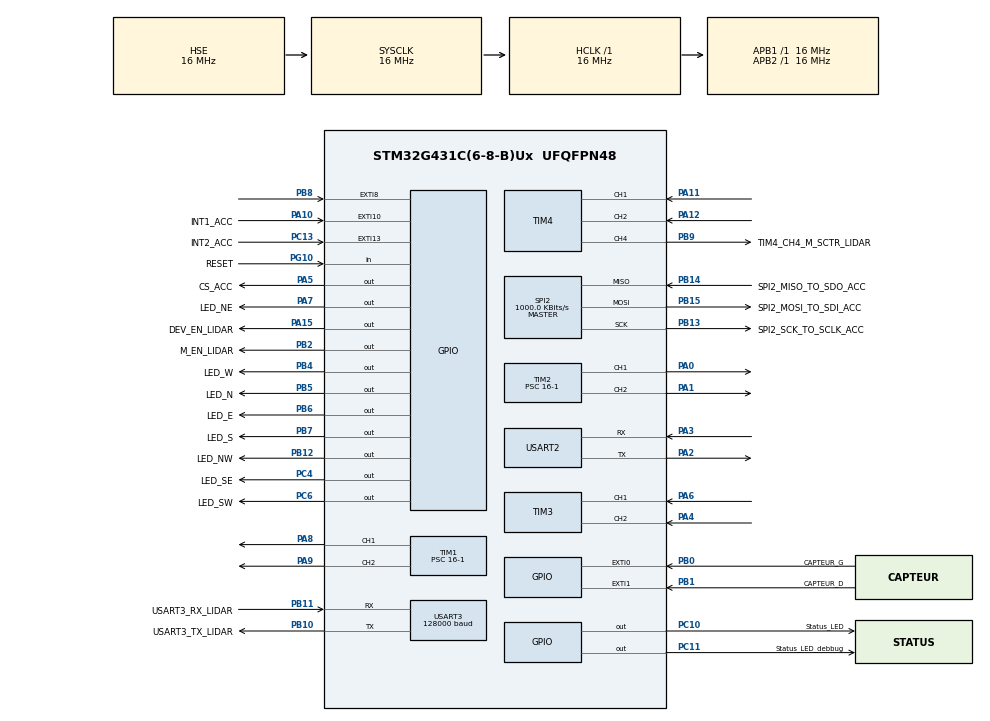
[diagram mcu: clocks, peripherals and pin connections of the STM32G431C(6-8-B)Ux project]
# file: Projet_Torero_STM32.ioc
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Dma.Request0=USART3_RX
Dma.USART3_RX.0.Direction=DMA_PERIPH_TO_MEMORY
Dma.USART3_RX.0.EventEnable=DISABLE
Dma.USART3_RX.0.Instance=DMA1_Channel1
Dma.USART3_RX.0.MemDataAlignment=DMA_MDATAALIGN_BYTE
Dma.USART3_RX.0.MemInc=DMA_MINC_ENABLE
Dma.USART3_RX.0.Mode=DMA_CIRCULAR
Dma.USART3_RX.0.PeriphDataAlignment=DMA_PDATAALIGN_BYTE
Dma.USART3_RX.0.PeriphInc=DMA_PINC_DISABLE
Dma.USART3_RX.0.Polarity=HAL_DMAMUX_REQ_GEN_RISING
Dma.USART3_RX.0.Priority=DMA_PRIORITY_LOW
Dma.USART3_RX.0.RequestNumber=1
Dma.USART3_RX.0.SignalID=NONE
Dma.USART3_RX.0.SyncEnable=DISABLE
Dma.USART3_RX.0.SyncPolarity=HAL_DMAMUX_SYNC_NO_EVENT
Dma.USART3_RX.0.SyncRequestNumber=1
Dma.USART3_RX.0.SyncSignalID=NONE
FREERTOS.Tasks01=defaultTask,0,128,StartDefaultTask,Default,NULL,Dynamic,NULL,NULL
FREERTOS.configTOTAL_HEAP_SIZE=10000
Mcu.Family=STM32G4
Mcu.Name=STM32G431C(6-8-B)Ux
Mcu.Package=UFQFPN48
NVIC.DMA1_Channel1_IRQn=true\:5\:0\:false\:false\:true\:true\:false\:true\:true
NVIC.EXTI0_IRQn=true\:5\:0\:false\:false\:true\:true\:true\:true\:true
NVIC.EXTI15_10_IRQn=true\:5\:0\:true\:false\:true\:true\:true\:true\:true
NVIC.EXTI1_IRQn=true\:5\:0\:false\:false\:true\:true\:true\:true\:true
NVIC.PriorityGroup=NVIC_PRIORITYGROUP_4
NVIC.TIM1_UP_TIM16_IRQn=true\:5\:0\:false\:false\:true\:true\:true\:true\:true
PA0.Signal=S_TIM2_CH1
PA1.Signal=S_TIM2_CH2
PA10.GPIO_Label=INT1_ACC
PA10.GPIO_PuPd=GPIO_NOPULL
PA10.Signal=GPXTI10
PA11.Signal=S_TIM4_CH1
PA12.Signal=S_TIM4_CH2
PA13.Mode=Trace_Asynchronous_SW
PA13.Signal=SYS_JTMS-SWDIO
PA14.Mode=Trace_Asynchronous_SW
PA14.Signal=SYS_JTCK-SWCLK
PA15.GPIO_Label=DEV_EN_LIDAR
PA15.PinState=GPIO_PIN_SET
PA15.Signal=GPIO_Output
PA2.Mode=Asynchronous
PA2.Signal=USART2_TX
PA3.Mode=Asynchronous
PA3.Signal=USART2_RX
PA4.Signal=S_TIM3_CH2
PA5.GPIO_Label=CS_ACC
PA5.PinState=GPIO_PIN_SET
PA5.Signal=GPIO_Output
PA6.Signal=S_TIM3_CH1
PA7.GPIO_Label=LED_NE
PA7.Signal=GPIO_Output
PA8.Signal=S_TIM1_CH1
PA9.Signal=S_TIM1_CH2
PB0.GPIO_Label=CAPTEUR_G
PB0.GPIO_ModeDefaultEXTI=GPIO_MODE_IT_RISING_FALLING
PB0.Signal=GPXTI0
PB1.GPIO_Label=CAPTEUR_D
PB1.GPIO_ModeDefaultEXTI=GPIO_MODE_IT_RISING_FALLING
PB1.Signal=GPXTI1
PB10.GPIO_Label=USART3_TX_LIDAR
PB10.Mode=Asynchronous
PB10.Signal=USART3_TX
PB11.GPIO_Label=USART3_RX_LIDAR
PB11.Mode=Asynchronous
PB11.Signal=USART3_RX
PB12.GPIO_Label=LED_NW
PB12.Signal=GPIO_Output
PB13.GPIO_Label=SPI2_SCK_TO_SCLK_ACC
PB13.Mode=Full_Duplex_Master
PB13.Signal=SPI2_SCK
PB14.GPIO_Label=SPI2_MISO_TO_SDO_ACC
PB14.Mode=Full_Duplex_Master
PB14.Signal=SPI2_MISO
PB15.GPIO_Label=SPI2_MOSI_TO_SDI_ACC
PB15.Mode=Full_Duplex_Master
PB15.Signal=SPI2_MOSI
PB2.GPIO_Label=M_EN_LIDAR
PB2.PinState=GPIO_PIN_SET
PB2.Signal=GPIO_Output
PB3.Mode=Trace_Asynchronous_SW
PB3.Signal=SYS_JTDO-SWO
PB4.GPIO_Label=LED_W
PB4.Signal=GPIO_Output
PB5.GPIO_Label=LED_N
PB5.Signal=GPIO_Output
PB6.GPIO_Label=LED_E
PB6.Signal=GPIO_Output
PB7.GPIO_Label=LED_S
PB7.Signal=GPIO_Output
PB8-BOOT0.Signal=GPXTI8
PB9.GPIO_Label=TIM4_CH4_M_SCTR_LIDAR
PB9.Signal=S_TIM4_CH4
PC10.GPIO_Label=Status_LED
PC10.Signal=GPIO_Output
PC11.GPIO_Label=Status_LED_debbug
PC11.Signal=GPIO_Output
PC13.GPIO_Label=INT2_ACC
PC13.GPIO_PuPd=GPIO_NOPULL
PC13.Signal=GPXTI13
PC4.GPIO_Label=LED_SE
PC4.Signal=GPIO_Output
PC6.GPIO_Label=LED_SW
PC6.Signal=GPIO_Output
PF0-OSC_IN.Mode=HSE-External-Oscillator
PF0-OSC_IN.Signal=RCC_OSC_IN
PF1-OSC_OUT.Mode=HSE-External-Oscillator
PF1-OSC_OUT.Signal=RCC_OSC_OUT
PG10-NRST.GPIO_Label=RESET
PG10-NRST.Signal=GPIO_Input
ProjectManager.HeapSize=0x200
ProjectManager.StackSize=0x400
ProjectManager.TargetToolchain=STM32CubeIDE
RCC.ADC12Freq_Value=16000000
RCC.AHBFreq_Value=16000000
RCC.APB1Freq_Value=16000000
RCC.APB1TimFreq_Value=16000000
RCC.APB2Freq_Value=16000000
RCC.APB2TimFreq_Value=16000000
RCC.CortexFreq_Value=16000000
RCC.EXTERNAL_CLOCK_VALUE=12288000
RCC.HCLKFreq_Value=16000000
RCC.HSE_VALUE=16000000
RCC.HSI48_VALUE=48000000
RCC.HSI_VALUE=16000000
RCC.LSE_VALUE=32768
RCC.RTCClockSelection=RCC_RTCCLKSOURCE_LSE
RCC.SYSCLKFreq_VALUE=16000000
RCC.SYSCLKSource=RCC_SYSCLKSOURCE_HSE
RCC.USBFreq_Value=64000000
RCC.VCOOutputFreq_Value=128000000
SH.S_TIM1_CH1.0=TIM1_CH1,PWM Generation1 CH1
SH.S_TIM1_CH2.0=TIM1_CH2,PWM Generation2 CH2
SH.S_TIM2_CH1.0=TIM2_CH1,PWM Generation1 CH1
SH.S_TIM2_CH2.0=TIM2_CH2,PWM Generation2 CH2
SH.S_TIM3_CH1.0=TIM3_CH1,Encoder_Interface
SH.S_TIM3_CH2.0=TIM3_CH2,Encoder_Interface
SH.S_TIM4_CH1.0=TIM4_CH1,Encoder_Interface
SH.S_TIM4_CH2.0=TIM4_CH2,Encoder_Interface
SH.S_TIM4_CH4.0=TIM4_CH4,PWM Generation4 CH4
SPI2.BaudRatePrescaler=SPI_BAUDRATEPRESCALER_16
SPI2.CLKPhase=SPI_PHASE_2EDGE
SPI2.CLKPolarity=SPI_POLARITY_HIGH
SPI2.CalculateBaudRate=1000.0 KBits/s
SPI2.DataSize=SPI_DATASIZE_8BIT
SPI2.Direction=SPI_DIRECTION_2LINES
SPI2.Mode=SPI_MODE_MASTER
SPI2.VirtualType=VM_MASTER
TIM1.Channel-PWM\ Generation1\ CH1=TIM_CHANNEL_1
TIM1.Channel-PWM\ Generation2\ CH2=TIM_CHANNEL_2
TIM1.PeriodNoDither=40-1
TIM1.Prescaler=16-1
TIM16.PeriodNoDither=1000-1
TIM16.Prescaler=16-1
TIM2.Channel-PWM\ Generation1\ CH1=TIM_CHANNEL_1
TIM2.Channel-PWM\ Generation2\ CH2=TIM_CHANNEL_2
TIM2.PeriodNoDither=40-1
TIM2.Prescaler=16-1
TIM4.Channel-PWM\ Generation4\ CH4=TIM_CHANNEL_4
USART2.VirtualMode-Asynchronous=VM_ASYNC
USART3.BaudRate=128000
USART3.VirtualMode-Asynchronous=VM_ASYNC
VP_FREERTOS_VS_CMSIS_V1.Mode=CMSIS_V1
VP_SYS_VS_DBSignals.Mode=DisableDeadBatterySignals
VP_TIM16_VS_ClockSourceINT.Mode=Enable_Timer
board=custom

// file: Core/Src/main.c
/* USER CODE BEGIN Header */
/**
 ******************************************************************************
 * @file           : main.c
 * @brief          : Main program body
 ******************************************************************************
 * @attention
 *
 * Copyright (c) 2024 STMicroelectronics.
 * All rights reserved.
 *
 * This software is licensed under terms that can be found in the LICENSE file
 * in the root directory of this software component.
 * If no LICENSE file comes with this software, it is provided AS-IS.
 *
 ******************************************************************************
 */
/* USER CODE END Header */
#include "main.h"
#include "cmsis_os.h"
#include "dma.h"
#include "spi.h"
#include "tim.h"
#include "usart.h"
#include "gpio.h"

/* USER CODE BEGIN Includes */
#include "lidarX4.h"
#include "stdio.h"
#include "ADXL.h"
#include "motor.h"
/* USER CODE END Includes */

/* USER CODE BEGIN PM */
extern TIM_HandleTypeDef htim16;

LIDAR_HandleTypeDef_t hlidar;

SemaphoreHandle_t SemHalfCallBack;
SemaphoreHandle_t SemClpCallBack;

TaskHandle_t xHandleLIDAR = NULL;
TaskHandle_t xHandleETAT = NULL;
TaskHandle_t xHandleMOTOR = NULL;
TaskHandle_t xHandleEDGE = NULL;

BaseType_t ret;
/* USER CODE END PM */

void SystemClock_Config(void);
void MX_FREERTOS_Init(void);
/* USER CODE BEGIN PFP */
void TaskMOTOR (void * pvParameters);
void TaskETAT(void * pvParameters);
void TaskEDGE(void * pvParameters);
void TaskLIDAR(void * pvParameters);
/* USER CODE END PFP */

/* USER CODE BEGIN 0 */

int motor_init = 0;

//flag capteurs bord
int capteur_G = 0;
int capteur_D = 0;

//Asservissement
int angle;		//Calcul de alpha
int vitesse;	//

//Etat Robot
int etat = 0;	//0 -> souris	1 -> chat

//Commande moteur
int alpha1 = MAX_SPEED_FORWARD; //moteur droit
int alpha2 = MAX_SPEED_FORWARD; //moteur gauche

//Flag pour bloquer l'actualisation de la vitesse des moteurs de TaskMOTOR
int EdgeProcess = 0;
int ShockProcess = 0;

//SemaphoreHandle_t xNoSignalSemaphore;
SemaphoreHandle_t SemDMAHalfCallBack;
SemaphoreHandle_t SemDMAClpCallBack;

//Lidar
int distance_min=0;
int idx_min = 0;
uint16_t frame_start = 0;
uint16_t frame_end = 0;
float coeff_Lidar, coeff_Capteur;
float delta;

//Accéléromètre
uint8_t rst_int;

int __io_putchar(int chr){
	HAL_UART_Transmit(&huart2, (uint8_t*)&chr, 1, HAL_MAX_DELAY);
	return chr;
}

void print_buffer(const char * Name, uint8_t *pData, uint16_t Size, int N_lines){
	printf("%s", Name);
	if(N_lines >= (int) Size){
		for(int i = 0; i<Size; i++){
			printf("%d : %d\r\n", i, pData[i]);
		}
	}
	else{
		for(int i = 0; i<N_lines; i++){
			printf("%d : %d\r\n", i, pData[i]);
		}
	}
}

void TaskETAT(void * pvParameters){
	for (;;) {
		// Attendre que la notification arrive
		ulTaskNotifyTake(pdTRUE, portMAX_DELAY);
		ShockProcess++;
		//lire INT_SOURCE met à 0 le bit d'interruption single tap
		//du registre pour générer une nouvelle interruption au prochain choc
		rst_int = SPI_Read(ADXL343_REG_INT_SOURCE);
		if(etat == 1){
			etat = 0;
			printf("Squik\r\n");
		}
		else{
			etat = 1;
			printf("Miaou\r\n");
		}
		alpha1 = MAX_SPEED_REVERSE;
		alpha2 = MAX_SPEED_REVERSE+40;
		vTaskDelay(pdMS_TO_TICKS(400));
		ShockProcess--;
	}
}

void TaskLIDAR(void * pvParameters){
	for(;;){
	}
}

void TaskMOTOR (void * pvParameters){
	for(;;){
		if((EdgeProcess||ShockProcess) == 0){
			alpha1 = MAX_SPEED_FORWARD;
			alpha2 = MAX_SPEED_FORWARD;
		}
	}
}

/*
//TaskMOTOR si le lidar fournissait bien l'angle de l'objet le plus proche et la distance
void TaskMOTOR (void * pvParameters){
	for(;;){
 		if((EdgeProcess||ShockProcess) == 0){
			if (Etat_Robot == 0){
				// Cas Robot loin
				if (distance>==TRIG_DIST) {
					alpha1 = MAX_SPEED_FORWARD;
					alpha2 = MAX_SPEED_FORWARD;
				}
				// Cas Robot proche
				if (distance<=TRIG_DIST) {
					if (ANGLE_R <=45 || ANGLE_R >=315) {
						if (ANGLE_R <=45) {
							alpha1 = MAX_SPEED_FORWARD;
							alpha2 = MAX_SPEED_FORWARD - ANGLE_R;
						}
						else{
							alpha1 = MAX_SPEED_FORWARD -(ANGLE_MAX-ANGLE_R);
							alpha2 = MAX_SPEED_FORWARD;
						}
					}
					else if (ANGLE_R <=90 || ANGLE_R >=270) {
						if (ANGLE_R <=90) {
							alpha1 = MAX_SPEED_FORWARD;
							alpha2 = MAX_SPEED_FORWARD;
						}
						else{
							alpha1 = MAX_SPEED_FORWARD;
							alpha2 = MAX_SPEED_FORWARD;
						}

					}
					else if (ANGLE_R <=180 || ANGLE_R >=180) {
						if (ANGLE_R <=180) {
							alpha1 = MAX_SPEED_FORWARD;
							alpha2 = MAX_SPEED_FORWARD - 10;
						}
						else{
							alpha1 = MAX_SPEED_FORWARD - 10;
							alpha2 = MAX_SPEED_FORWARD;
						}
					}
				}
			}
			if(Etat_Robot == 1){
							// Cas Robot loin
				if (distance>=TRIG_DIST) {
					if (ANGLE_R <=45 || ANGLE_R >=315) {
						if (ANGLE_R <=45) {
							alpha1 = MAX_SPEED_FORWARD - 5;
							alpha2 = MAX_SPEED_FORWARD;
						}
						else{
							alpha1 = MAX_SPEED_FORWARD;
							alpha2 = MAX_SPEED_FORWARD - 5;
						}
					}
					else if (ANGLE_R <=90 || ANGLE_R >=270) {
						if (ANGLE_R <=90) {
							alpha1 = 50 - ANGLE_R;
							alpha2 = MAX_SPEED_FORWARD;
						}
						else{
							alpha1 = MAX_SPEED_FORWARD;
							alpha2 = 50 - (360-ANGLE_R);
						}

					}
				}
					else if (ANGLE_R <=180 || ANGLE_R >=180) {
						if (ANGLE_R <=180) {
							alpha1 = - MAX_SPEED_FORWARD;
							alpha2 = MAX_SPEED_FORWARD;
						}
						else{
							alpha1 = MAX_SPEED_FORWARD;
							alpha2 = - MAX_SPEED_FORWARD;
						}
				}
				// Cas Robot proche
				if (distance<==TRIG_DIST) {
					if (ANGLE_R <=45 || ANGLE_R >=315) {
						if (ANGLE_R <=45) {
							alpha1 = MAX_SPEED_FORWARD;
							alpha2 = MAX_SPEED_FORWARD;
						}
						else{
							alpha1 = MAX_SPEED_FORWARD;
							alpha2 = MAX_SPEED_FORWARD;
						}
					}
					else if (ANGLE_R <=90 || ANGLE_R >=270) {
						if (ANGLE_R <=90) {
							alpha1 = 70 - ANGLE_R;
							alpha2 = MAX_SPEED_FORWARD;
						}
						else{
							alpha1 = MAX_SPEED_FORWARD;
							alpha2 = 70 - ANGLE_R;
						}

					}
					else if (ANGLE_R <=180 || ANGLE_R >=180) {
						if (ANGLE_R <=180) {
							alpha1 = - (MAX_SPEED_FORWARD - 10);
							alpha2 = - MAX_SPEED_FORWARD;
						}
						else{
							alpha1 = - MAX_SPEED_FORWARD;
							alpha2 = - (MAX_SPEED_FORWARD - 10);
						}
					}
				}
			}
		}
	}
}
*/

/*		Début de comportement à implementer pour asserv dynamique
 *
 * 		capteur_virtuel = capteur_G&&capteur_D;
		int erreur_capteur = -45*capteur_G+45*capteur_D+90*capteur_virtuel;
		int erreurLidar = 10/180;
		int alphaD = coeff_Lidar*erreurLidar-coeff_Capteur*erreur_capteur;
		int alphaG = -coeff_Lidar*erreurLidar+coeff_Capteur*erreur_capteur;
 */

void TaskEDGE(void * pvParameters){
	for (;;) {

		ulTaskNotifyTake(pdTRUE, portMAX_DELAY);
		EdgeProcess++;

		/* Cas Robot bord frontal */
		if((capteur_D&&capteur_G)==1){
			while((capteur_D&&capteur_G)==1){
				alpha1 = MAX_SPEED_REVERSE;
				alpha2 = MAX_SPEED_REVERSE;
			}
			vTaskDelay(pdMS_TO_TICKS(100));

			alpha1 = MAX_SPEED_FORWARD;
			alpha2 = MAX_SPEED_REVERSE;
			vTaskDelay(pdMS_TO_TICKS(200));
		}

		/* Cas Robot bord droit tourne a gauche */
		if(capteur_D){
			while(capteur_D){
				// reculer, tourner et repartir
				alpha1 = MAX_SPEED_REVERSE;
				alpha2 = MAX_SPEED_REVERSE;
			}
			vTaskDelay(pdMS_TO_TICKS(100));

			alpha1 = MAX_SPEED_FORWARD;
			alpha2 = MAX_SPEED_REVERSE;
			vTaskDelay(pdMS_TO_TICKS(200));
		}

		/* Cas Robot bord gauche tourne a droite */
		if(capteur_G){
			while(capteur_G){
				// reculer, tourner et repartir
				alpha1 = MAX_SPEED_REVERSE;
				alpha2 = MAX_SPEED_REVERSE;
			}
			vTaskDelay(pdMS_TO_TICKS(100));

			alpha1 = MAX_SPEED_FORWARD;
			alpha2 = MAX_SPEED_REVERSE;
			vTaskDelay(pdMS_TO_TICKS(200));
		}
		//lire INT_SOURCE met à 0 le bit d'interruption single tap
		//du registre pour générer une nouvelle interruption au prochain choc
		rst_int = SPI_Read(ADXL343_REG_INT_SOURCE);
		EdgeProcess--;
	}
}

void TaskEDGE(void * pvParameters){
	for (;;) {

		ulTaskNotifyTake(pdTRUE, portMAX_DELAY);
		EdgeProcess++;

		/* Cas Robot bord frontal */
		if((capteur_D&&capteur_G)==1){
			while((capteur_D&&capteur_G)==1){
				alpha1 = MAX_SPEED_REVERSE;
				alpha2 = MAX_SPEED_REVERSE;
			}
			vTaskDelay(pdMS_TO_TICKS(100));

			alpha1 = MAX_SPEED_FORWARD;
			alpha2 = MAX_SPEED_REVERSE;
			vTaskDelay(pdMS_TO_TICKS(200));
		}

		/* Cas Robot bord droit tourne a gauche */
		if(capteur_D){
			while(capteur_D){
				// reculer, tourner et repartir
				alpha1 = MAX_SPEED_REVERSE;
				alpha2 = MAX_SPEED_REVERSE;
			}
			vTaskDelay(pdMS_TO_TICKS(100));

			alpha1 = MAX_SPEED_FORWARD;
			alpha2 = MAX_SPEED_REVERSE;
			vTaskDelay(pdMS_TO_TICKS(200));
		}

		/* Cas Robot bord gauche tourne a droite */
		if(capteur_G){
			while(capteur_G){
				// reculer, tourner et repartir
				alpha1 = MAX_SPEED_REVERSE;
				alpha2 = MAX_SPEED_REVERSE;
			}
			vTaskDelay(pdMS_TO_TICKS(100));

			alpha1 = MAX_SPEED_FORWARD;
			alpha2 = MAX_SPEED_REVERSE;
			vTaskDelay(pdMS_TO_TICKS(200));
		}
		//lire INT_SOURCE met à 0 le bit d'interruption single tap
		//du registre pour générer une nouvelle interruption au prochain choc
		rst_int = SPI_Read(ADXL343_REG_INT_SOURCE);
		EdgeProcess--;
	}
}

/* USER CODE END 0 */

int main(void)
{

	/* MCU Configuration--------------------------------------------------------*/

	/* Reset of all peripherals, Initializes the Flash interface and the Systick. */
	HAL_Init();

	/* Configure the system clock */
	SystemClock_Config();

	/* Initialize all configured peripherals */
	MX_GPIO_Init();
	MX_DMA_Init();
	MX_SPI2_Init();
	MX_TIM1_Init();
	MX_TIM2_Init();
	MX_TIM3_Init();
	MX_TIM4_Init();
	MX_USART2_UART_Init();
	MX_USART3_UART_Init();
	MX_TIM16_Init();
	/* USER CODE BEGIN 2 */
	Start_Motors();
	ADXL343_Init();
	HAL_TIM_Base_Start_IT(&htim16);
	LIDAR_Init(&hlidar);
	LIDAR_Start(&hlidar);

	ret = xTaskCreate(TaskETAT,"TaskETAT",STACK_SIZE,(void *) NULL,PRIORITY_ETAT,&xHandleETAT);
	if (ret != pdPASS)
	{
		printf("Error creating TaskETAT\r\n");
		Error_Handler();
	}
	printf("Task ETAT created\r\n");

	/*
	ret = xTaskCreate(TaskLIDAR,"TaskLIDAR",STACK_SIZE,(void *) NULL,PRIORITY_LIDAR,&xHandleLIDAR);
	if (ret != pdPASS)
	{
		printf("Error creating TaskLIDAR\r\n");
		Error_Handler();
	}
	printf("Task LIDAR created\r\n");
	 */

	ret = xTaskCreate(TaskMOTOR,"TaskMOTOR",STACK_SIZE,(void *) NULL,PRIORITY_MOTOR,&xHandleMOTOR);
	if (ret != pdPASS)
	{
		printf("Error creating TaskMOTOR\r\n");
		Error_Handler();
	}
	printf("Task MOTOR created\r\n");

	ret = xTaskCreate(TaskEDGE,"TaskEDGE",STACK_SIZE,(void *) NULL,PRIORITY_EDGE,&xHandleEDGE);
	if (ret != pdPASS)
	{
		printf("Error creating TaskEDGE\r\n");
		Error_Handler();
	}
	printf("Task EDGE created\r\n");

	SemDMAHalfCallBack = xSemaphoreCreateBinary();
	SemDMAClpCallBack = xSemaphoreCreateBinary();

	/* USER CODE END 2 */

	/* Call init function for freertos objects (in cmsis_os2.c) */
	MX_FREERTOS_Init();

	/* Start scheduler */
	osKernelStart();

	/* We should never get here as control is now taken by the scheduler */

	/* Infinite loop */
	while (1)
	{

	}
}

void SystemClock_Config(void)
{
	RCC_OscInitTypeDef RCC_OscInitStruct = {0};
	RCC_ClkInitTypeDef RCC_ClkInitStruct = {0};

	/** Configure the main internal regulator output voltage
	 */
	HAL_PWREx_ControlVoltageScaling(PWR_REGULATOR_VOLTAGE_SCALE1);

	/** Initializes the RCC Oscillators according to the specified parameters
	 * in the RCC_OscInitTypeDef structure.
	 */
	RCC_OscInitStruct.OscillatorType = RCC_OSCILLATORTYPE_HSE;
	RCC_OscInitStruct.HSEState = RCC_HSE_ON;
	RCC_OscInitStruct.PLL.PLLState = RCC_PLL_NONE;
	if (HAL_RCC_OscConfig(&RCC_OscInitStruct) != HAL_OK)
	{
		Error_Handler();
	}

	/** Initializes the CPU, AHB and APB buses clocks
	 */
	RCC_ClkInitStruct.ClockType = RCC_CLOCKTYPE_HCLK|RCC_CLOCKTYPE_SYSCLK
			|RCC_CLOCKTYPE_PCLK1|RCC_CLOCKTYPE_PCLK2;
	RCC_ClkInitStruct.SYSCLKSource = RCC_SYSCLKSOURCE_HSE;
	RCC_ClkInitStruct.AHBCLKDivider = RCC_SYSCLK_DIV1;
	RCC_ClkInitStruct.APB1CLKDivider = RCC_HCLK_DIV1;
	RCC_ClkInitStruct.APB2CLKDivider = RCC_HCLK_DIV1;

	if (HAL_RCC_ClockConfig(&RCC_ClkInitStruct, FLASH_LATENCY_0) != HAL_OK)
	{
		Error_Handler();
	}
}

/* USER CODE BEGIN 4 */
void HAL_GPIO_EXTI_Callback(uint16_t GPIO_Pin) {

	if (GPIO_Pin == INT1_ACC_Pin) {
		if(EdgeProcess==0){
			BaseType_t xHigherPriorityTaskWoken = pdFALSE;
			vTaskNotifyGiveFromISR(xHandleETAT, &xHigherPriorityTaskWoken);
			portYIELD_FROM_ISR(xHigherPriorityTaskWoken);
			HAL_GPIO_TogglePin(GPIOC, Status_LED_Pin);
		}
	}
	if (GPIO_Pin == CAPTEUR_D_Pin) {
		if(capteur_D==1){
			capteur_D=0;
		}
		else{
			capteur_D=1;
		}
		//printf("capteurD\r\n");
		BaseType_t xHigherPriorityTaskWoken = pdFALSE;
		vTaskNotifyGiveFromISR(xHandleEDGE, &xHigherPriorityTaskWoken);
		portYIELD_FROM_ISR(xHigherPriorityTaskWoken);
	}
	if (GPIO_Pin == CAPTEUR_G_Pin) {
		if(capteur_G==1){
			capteur_G=0;
		}
		else{
			capteur_G=1;
		}
		//printf("capteurG\r\n");
		BaseType_t xHigherPriorityTaskWoken = pdFALSE;
		vTaskNotifyGiveFromISR(xHandleEDGE, &xHigherPriorityTaskWoken);
		portYIELD_FROM_ISR(xHigherPriorityTaskWoken);
	}
}

//Timer qui génère une interruption toutes les 1ms pour faire une rampe d'accélération des moteurs
void HAL_TIM_PeriodElapsedCallback(TIM_HandleTypeDef* htim)
{
	//Timer qui génère une interruption toutes les 1ms pour faire une rampe d'accélération des moteurs
	if (htim->Instance == TIM16){
		if(motor_init){		//Attendre de générer les PWM avant de mettre à jour leur rapport cyclique
			Motor_SetSpeed_R(alpha1);
			Motor_SetSpeed_L(alpha2);
		}
	}
}

/*
void HAL_UART_RxHalfCpltCallback(UART_HandleTypeDef *huart)
{
	BaseType_t higher_priority_task_woken = pdFALSE;
	xSemaphoreGiveFromISR(SemHalfCallBack,&higher_priority_task_woken);
	portYIELD_FROM_ISR(higher_priority_task_woken);
}

void HAL_UART_RxCpltCallback(UART_HandleTypeDef *huart)
{
	BaseType_t higher_priority_task_woken = pdFALSE;
	xSemaphoreGiveFromISR(SemClpCallBack,&higher_priority_task_woken);
	portYIELD_FROM_ISR(higher_priority_task_woken);
}
 */
/* USER CODE END 4 */

void Error_Handler(void)
{
	__disable_irq();
	while (1)
	{
	}
}
